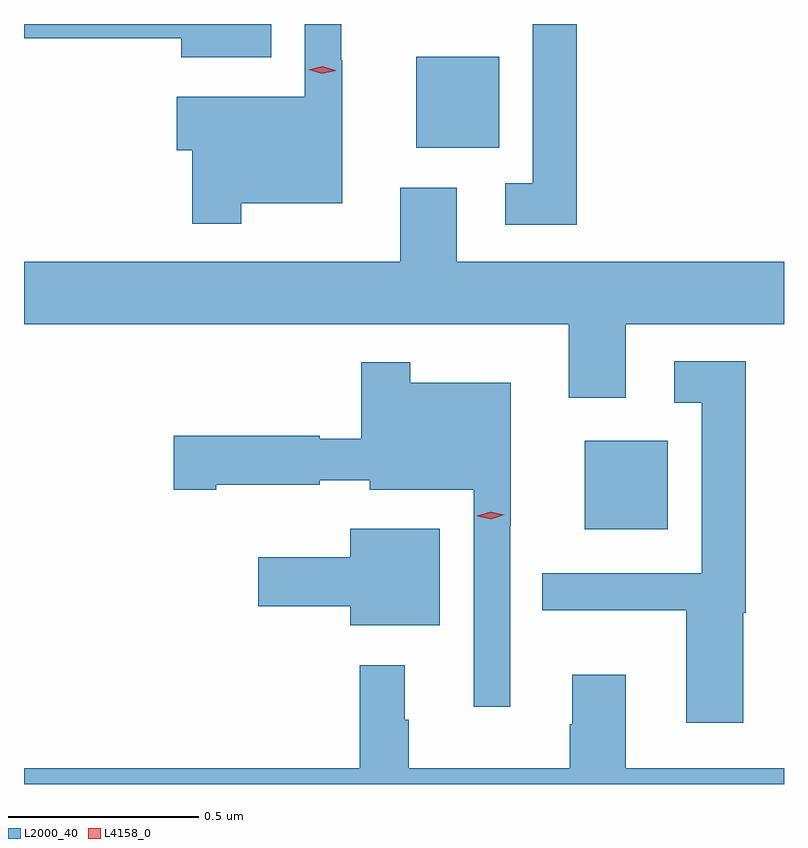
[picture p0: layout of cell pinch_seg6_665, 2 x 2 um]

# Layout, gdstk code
import gdstk
lib = gdstk.Library(unit=1e-6, precision=1e-09)
def R(c, l, rs):  # rectangles x0, y0, x1, y1
    for r in rs: c.add(gdstk.rectangle(r[:2], r[2:], *l))
def P(c, l, *ps):  # polygons
    for p in ps: c.add(gdstk.Polygon(p, *l))
L2000_40 = (2000, 40)
L4158_0 = (4158, 0)

pinch_seg6_665 = lib.new_cell('pinch_seg6_665')
R(pinch_seg6_665, L2000_40, [(456.794,953.456,457.012,953.689), (456.35,954.461,456.568,954.7)])
P(pinch_seg6_665, L2000_40, [(455.968,954.786),(455.318,954.786),(455.318,954.748),(455.732,954.748),(455.732,954.698),(455.968,954.698)],
  [(456.773,954.786),(456.657,954.786),(456.657,954.367),(456.585,954.367),(456.585,954.258),(456.773,954.258)],
  [(455.89,954.314),(456.155,954.314),(456.155,954.691),(456.153,954.691),(456.153,954.786),(456.057,954.786),(456.057,954.595),(455.72,954.595),(455.72,954.454),(455.761,954.454),(455.761,954.261),(455.89,954.261)],
  [(456.901,953.996),(457.318,953.996),(457.318,954.16),(456.457,954.16),(456.457,954.355),(456.308,954.355),(456.308,954.16),(455.318,954.16),(455.318,953.996),(456.752,953.996),(456.752,953.802),(456.901,953.802)],
  [(457.211,953.237),(457.217,953.237),(457.217,953.899),(457.029,953.899),(457.029,953.789),(457.101,953.789),(457.101,953.34),(456.682,953.34),(456.682,953.243),(457.061,953.243),(457.061,952.947),(457.211,952.947)],
  [(456.597,953.465),(456.599,953.465),(456.599,953.842),(456.334,953.842),(456.334,953.896),(456.205,953.896),(456.205,953.695),(456.096,953.695),(456.096,953.703),(455.712,953.703),(455.712,953.561),(455.824,953.561),(455.824,953.573),(456.096,953.573),(456.096,953.586),(456.228,953.586),(456.228,953.561),(456.501,953.561),(456.501,952.989),(456.597,952.989)],
  [(456.412,953.458),(456.176,953.458),(456.176,953.383),(455.934,953.383),(455.934,953.254),(456.176,953.254),(456.176,953.204),(456.412,953.204)],
  [(457.318,952.828),(456.901,952.828),(456.901,953.074),(456.761,953.074),(456.761,952.943),(456.754,952.943),(456.754,952.828),(456.331,952.828),(456.331,952.955),(456.32,952.955),(456.32,953.098),(456.202,953.098),(456.202,952.828),(455.318,952.828),(455.318,952.786),(457.318,952.786)])
P(pinch_seg6_665, L4158_0, [(456.547,953.483),(456.511,953.491),(456.511,953.491),(456.511,953.492),(456.546,953.503),(456.582,953.494),(456.582,953.494),(456.582,953.494)],
  [(456.102,954.655),(456.067,954.666),(456.067,954.666),(456.067,954.666),(456.103,954.675),(456.138,954.664),(456.138,954.663),(456.138,954.663)])

lib.write_gds('pinch_seg6_665.gds')
